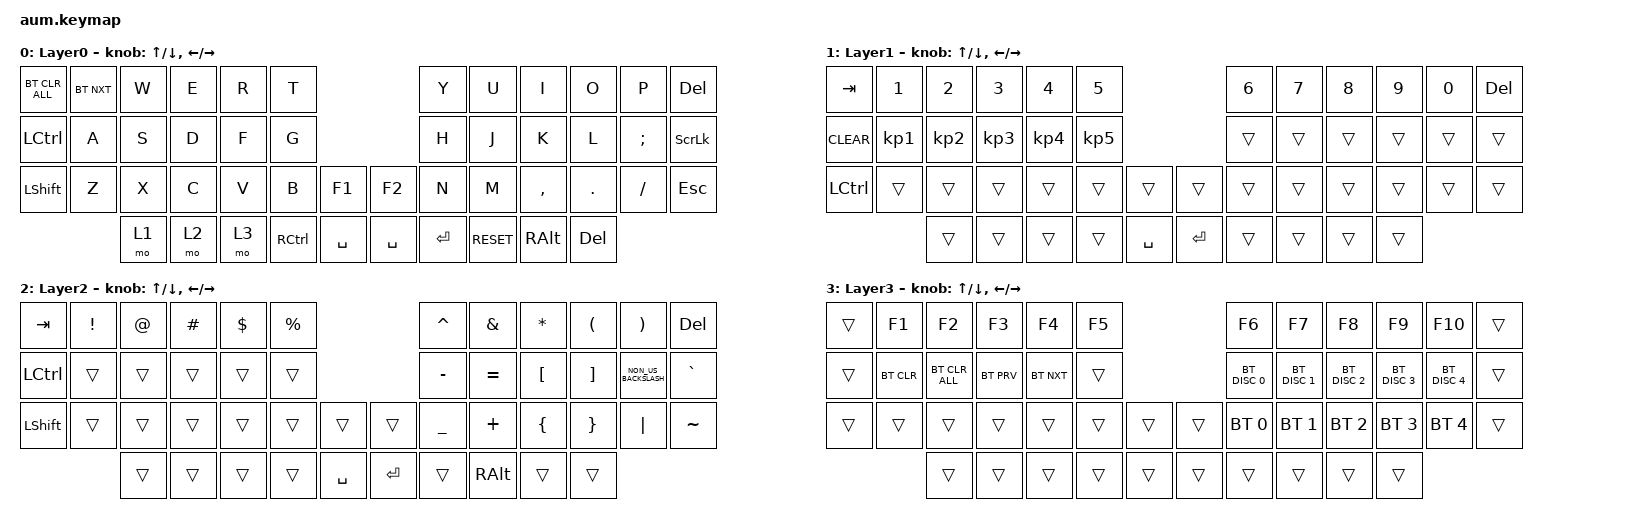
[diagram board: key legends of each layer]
#include <behaviors.dtsi>
#include <dt-bindings/zmk/bt.h>
#include <dt-bindings/zmk/keys.h>

#define L0     0
#define L1     1
#define L2     2
#define L3     3

/ {
    // macros {
    //     td0:td0{
    //             label = "qiehuan_MACOS";
    //             compatible = "zmk,behavior-macro";
    //             #binding-cells = <0>;
    //             bindings
    //                 = <&macro_tap &tog MACOS>
    //                 , <&macro_tap &tog FKEYS>
    //                 ;
    //     };
    //     td1:td1{
    //             label = "qiehuan_FKEYS";
    //             compatible = "zmk,behavior-macro";
    //             #binding-cells = <0>;
    //             bindings
    //                 = <&macro_tap &tog FKEYS>
    //                 , <&macro_tap &tog MACOS>
    //                 ;
    //     };
    // }

    keymap {
        compatible = "zmk,keymap";

        L0 {
            display-name = "Layer0";
            sensor-bindings = <&inc_dec_kp UP DOWN &inc_dec_kp LEFT RIGHT>;
            bindings = <
&bt BT_CLR_ALL  &bt BT_NXT &kp W  &kp E  &kp R  &kp T                            &kp Y      &kp U        &kp I          &kp O    &kp P     &kp DEL
&kp LCTRL       &kp A  &kp S  &kp D  &kp F  &kp G                            &kp H      &kp J        &kp K          &kp L    &kp SEMI  &kp SCROLLLOCK
&kp LEFT_SHIFT  &kp Z  &kp X  &kp C  &kp V  &kp B      &kp F1     &kp F2     &kp N      &kp M        &kp COMMA      &kp DOT  &kp FSLH  &kp ESC
                       &mo 1  &mo 2  &mo 3  &kp RCTRL  &kp SPACE  &kp SPACE  &kp ENTER  &kp C_RESET  &kp RIGHT_ALT  &kp DEL
            >;
        };

        L1 {
            display-name = "Layer1";
            sensor-bindings = <&inc_dec_kp UP DOWN &inc_dec_kp LEFT RIGHT>;
            bindings = <
&kp TAB    &kp NUMBER_1     &kp NUMBER_2     &kp NUMBER_3     &kp NUMBER_4     &kp NUMBER_5                           &kp NUMBER_6  &kp NUMBER_7  &kp NUMBER_8  &kp NUMBER_9  &kp NUMBER_0  &kp DEL
&kp CLEAR  &kp KP_NUMBER_1  &kp KP_NUMBER_2  &kp KP_NUMBER_3  &kp KP_NUMBER_4  &kp KP_NUMBER_5                        &trans        &trans        &trans        &trans        &trans        &trans
&kp LCTRL  &trans           &trans           &trans           &trans           &trans           &trans     &trans     &trans        &trans        &trans        &trans        &trans        &trans
                            &trans           &trans           &trans           &trans           &kp SPACE  &kp ENTER  &trans        &trans        &trans        &trans
            >;
        };

        L2 {
            display-name = "Layer2";
            sensor-bindings = <&inc_dec_kp UP DOWN &inc_dec_kp LEFT RIGHT>;
            bindings = <
&kp TAB     &kp EXCLAMATION  &kp AT  &kp HASH  &kp DLLR  &kp PERCENT                        &kp CARET       &kp AMPERSAND  &kp ASTERISK      &kp LEFT_PARENTHESIS  &kp RIGHT_PARENTHESIS  &kp DELETE
&kp LCTRL   &trans           &trans  &trans    &trans    &trans                             &kp MINUS       &kp EQUAL      &kp LEFT_BRACKET  &kp RIGHT_BRACKET     &kp NON_US_BACKSLASH   &kp GRAVE
&kp LSHIFT  &trans           &trans  &trans    &trans    &trans       &trans     &trans     &kp UNDERSCORE  &kp PLUS       &kp LEFT_BRACE    &kp RIGHT_BRACE       &kp PIPE               &kp TILDE
                             &trans  &trans    &trans    &trans       &kp SPACE  &kp ENTER  &trans          &kp RIGHT_ALT  &trans            &trans
            >;
        };

        L3 {
            display-name = "Layer3";
            sensor-bindings = <&inc_dec_kp UP DOWN &inc_dec_kp LEFT RIGHT>;
            bindings = <
&trans  &kp F1      &kp F2          &kp F3      &kp F4      &kp F5                  &kp F6         &kp F7         &kp F8         &kp F9         &kp F10        &trans
&trans  &bt BT_CLR  &bt BT_CLR_ALL  &bt BT_PRV  &bt BT_NXT  &trans                  &bt BT_DISC 0  &bt BT_DISC 1  &bt BT_DISC 2  &bt BT_DISC 3  &bt BT_DISC 4  &trans
&trans  &trans      &trans          &trans      &trans      &trans  &trans  &trans  &bt BT_SEL 0   &bt BT_SEL 1   &bt BT_SEL 2   &bt BT_SEL 3   &bt BT_SEL 4   &trans
                    &trans          &trans      &trans      &trans  &trans  &trans  &trans         &trans         &trans         &trans
            >;
        };
    };
};
